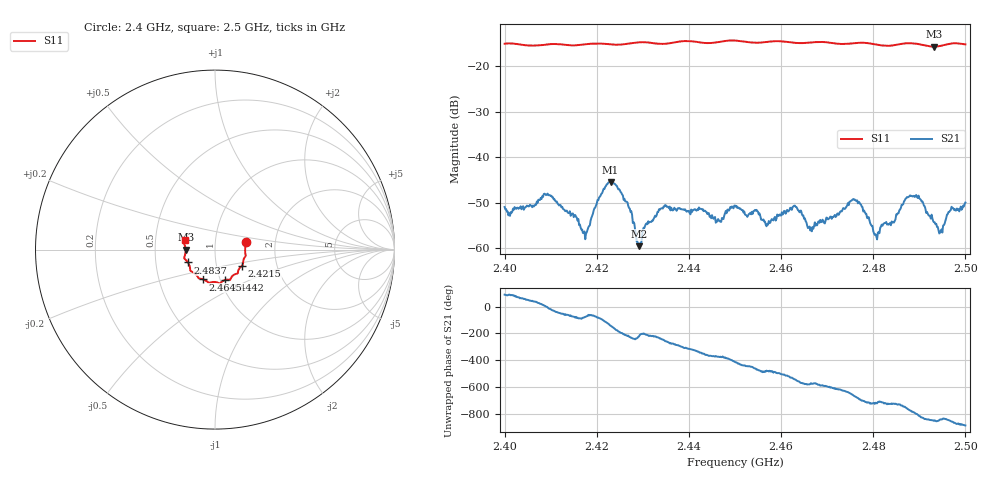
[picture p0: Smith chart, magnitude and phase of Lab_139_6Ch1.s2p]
# Hz S RI R 50
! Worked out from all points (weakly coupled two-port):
!   601 points, 2.4 GHz to 2.5 GHz, reference 50 ohm
!   highest |S21| = -45.41 dB at 2.423 GHz (marker M1); lowest = -59.5 dB at 2.4292 GHz (marker M2)
!   lowest |S11| = -15.7 dB at 2.4932 GHz (marker M3), VSWR 1.39, Z = 35.9 - j0.054 ohm
!   |S11| at or under -10 dB: start of sweep to end of sweep
!   S12 and S22 are empty: the file has one direction only
!   S11 on the Smith chart (normalised r, x): 2.4 GHz: 1.41, +0.12; 2.4215 GHz: 1.33, -0.25; 2.4442 GHz: 1.05, -0.37; 2.4645 GHz: 0.83, -0.29; 2.4837 GHz: 0.73, -0.11; 2.5 GHz: 0.71, +0.07
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2.4e9  0.1712 0.0401  6.78e-06 0.00285  0 0  0 0
2.409667e9  0.1712 -0.0282  0.0037 -0.00103  0 0  0 0
2.416667e9  0.1566 -0.0698  -9.93e-06 -0.0016  0 0  0 0
2.418e9  0.1556 -0.0791  0.000568 -0.00149  0 0  0 0
2.4215e9  0.1511 -0.0899  -0.00121 -0.00435  0 0  0 0
2.423e9  0.1444 -0.0956  -0.00424 -0.00329  0 0  0 0
2.427e9  0.1285 -0.1212  -0.00199 0.00194  0 0  0 0
2.429167e9  0.127 -0.1303  -0.000781 0.000713  0 0  0 0
2.433333e9  0.1082 -0.1386  -0.00157 0.00195  0 0  0 0
2.444167e9  0.0564 -0.1696  0.00243 -0.000208  0 0  0 0
2.45e9  0.0248 -0.1889  0.00176 -0.00237  0 0  0 0
2.457167e9  -0.0241 -0.1831  -0.000929 -0.00156  0 0  0 0
2.4645e9  -0.0659 -0.1661  -0.00207 0.00119  0 0  0 0
2.466667e9  -0.0827 -0.1618  -0.00124 0.000908  0 0  0 0
2.475667e9  -0.1275 -0.1237  0.00189 0.00293  0 0  0 0
2.4805e9  -0.1386 -0.1029  0.00143 3.82e-05  0 0  0 0
2.483333e9  -0.149 -0.075  0.00181 -0.000244  0 0  0 0
2.483667e9  -0.151 -0.0718  0.00189 -0.00021  0 0  0 0
2.488333e9  -0.1714 -0.0469  0.0016 -0.00341  0 0  0 0
2.493167e9  -0.1635 -0.000731  -0.00132 -0.00142  0 0  0 0
2.494667e9  -0.1659 0.0178  -0.000838 -0.00133  0 0  0 0
2.5e9  -0.1651 0.0507  -0.00312 -0.000662  0 0  0 0
